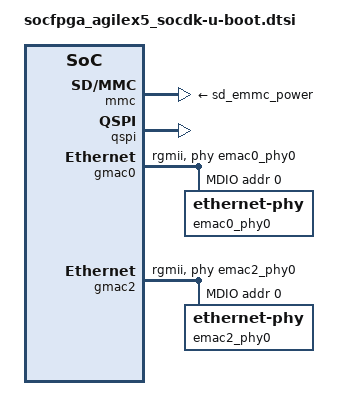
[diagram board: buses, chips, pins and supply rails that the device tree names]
// SPDX-License-Identifier: GPL-2.0+
/*
 * U-Boot additions
 *
 * Copyright (C) 2024 Intel Corporation <www.intel.com>
 * Copyright (C) 2025 Altera Corporation <www.altera.com>
 */

#include "socfpga_agilex5-u-boot.dtsi"

/{
	aliases {
		spi0 = &qspi;
		freeze_br0 = &freeze_controller;
	};

	soc {
		freeze_controller: freeze_controller@0x20000450 {
			compatible = "altr,freeze-bridge-controller";
			reg = <0x20000450 0x00000010>;
			status = "disabled";
		};
	};

	/*
	 * Both Memory base address and size default info is retrieved from HW setting.
	 * Reconfiguration / Overwrite these info can be done with examples below.
	 *
	 * When LPDDR ECC is enabled, the last 1/8 of the memory region must
	 * be reserved for the Inline ECC buffer.
	 *
	 * Example for memory size with 2GB:
	 * memory {
	 *	reg = <0x0 0x80000000 0x0 0x80000000>;
	 * };
	 *
	 * Example for memory size with 8GB:
	 * memory {
	 *	reg = <0x0 0x80000000 0x0 0x80000000>,
	 *	      <0x8 0x80000000 0x1 0x80000000>;
	 * };
	 *
	 * Example for memory size with 32GB:
	 * memory {
	 *	reg = <0x0 0x80000000 0x0 0x80000000>,
	 *	      <0x8 0x80000000 0x7 0x80000000>;
	 * };
	 *
	 * Example for memory size with 512GB:
	 * memory {
	 *	reg = <0x0 0x80000000 0x0 0x80000000>,
	 *	      <0x8 0x80000000 0x7 0x80000000>,
	 *	      <0x88 0x00000000 0x78 0x00000000>;
	 * };
	 *
	 * Example for memory size with 2GB with LPDDR Inline ECC ON:
	 * memory {
	 *	reg = <0x0 0x80000000 0x0 0x70000000>;
	 * };
	 *
	 * Example for memory size with 8GB with LPDDR Inline ECC ON:
	 * memory {
	 *	reg = <0x0 0x80000000 0x0 0x80000000>,
	 *	      <0x8 0x80000000 0x1 0x40000000>;
	 * };
	 */

	chosen {
		stdout-path = "serial0:115200n8";
		u-boot,spl-boot-order = &mmc,&flash0,&nand,"/memory";
	};
};

&flash0 {
	compatible = "jedec,spi-nor";
	spi-tx-bus-width = <4>;
	spi-rx-bus-width = <4>;
	bootph-all;
	/delete-property/ cdns,read-delay;
};

&flash1 {
	bootph-all;
};

&i3c0 {
	bootph-all;
};

&i3c1 {
	bootph-all;
};

&gpio1 {
	portb: gpio-controller@0 {
		bootph-all;
	};
};

&sd_emmc_power {
	bootph-all;
};

&sd_io_1v8_reg {
	gpios = <&portb 3 GPIO_ACTIVE_HIGH>;
	bootph-all;
};

&mmc {
	status = "okay";

	no-mmc;
	no-1-8-v;
	disable-wp;
	cap-sd-highspeed;
	vmmc-supply = <&sd_emmc_power>;
	vqmmc-supply = <&sd_io_1v8_reg>;
	max-frequency = <200000000>;

	/* SD card default speed (DS) and UHS-I SDR12 mode timing configuration */
	cdns,phy-dqs-timing-delay-sd-ds = <0x00780000>;
	cdns,phy-gate-lpbk_ctrl-delay-sd-ds = <0x81a40040>;
	cdns,phy-dll-slave-ctrl-sd-ds = <0x00a000fe>;
	cdns,phy-dq-timing-delay-sd-ds = <0x28000001>;

	/* SD card high speed and UHS-I SDR25 mode timing configuration */
	cdns,phy-dqs-timing-delay-sd-hs = <0x780001>;
	cdns,phy-gate-lpbk_ctrl-delay-sd-hs = <0x81a40040>;
	cdns,phy-dq-timing-delay-sd-hs = <0x10000001>;
	cdns,ctrl-hrs16-slave-ctrl-sd-hs = <0x101>;
	cdns,ctrl-hrs07-timing-delay-sd-hs = <0xA0001>;

	bootph-all;
};

&qspi {
	status = "okay";
};

&nand {
	bootph-all;
};

&timer0 {
	bootph-all;
};

&timer1 {
	bootph-all;
};

&timer2 {
	bootph-all;
};

&timer3 {
	bootph-all;
};

&watchdog0 {
	bootph-all;
};

&gmac0 {
	status = "okay";
	phy-mode = "rgmii";
	phy-handle = <&emac0_phy0>;

	max-frame-size = <9000>;

	mdio0 {
		#address-cells = <1>;
		#size-cells = <0>;
		compatible = "snps,dwxgmac-mdio";
		emac0_phy0: ethernet-phy@0 {
			reg = <0>;
		};
	};
};

&gmac2 {
	status = "okay";
	phy-mode = "rgmii";
	phy-handle = <&emac2_phy0>;

	max-frame-size = <9000>;

	mdio0 {
		#address-cells = <1>;
		#size-cells = <0>;
		compatible = "snps,dwxgmac-mdio";
		emac2_phy0: ethernet-phy@0 {
			reg = <0>;
		};
	};
};
